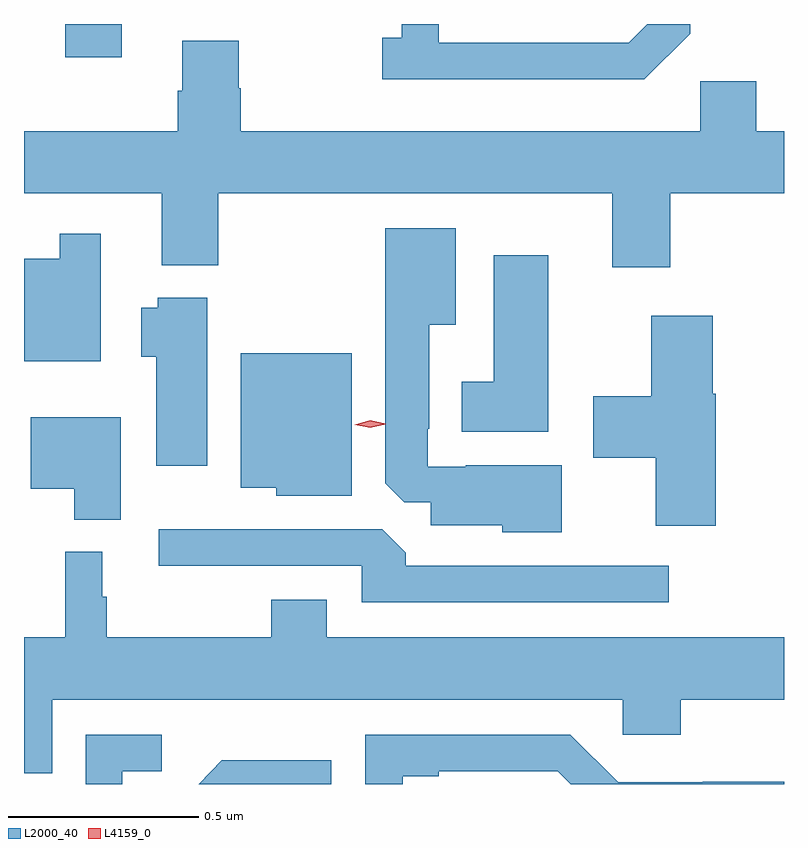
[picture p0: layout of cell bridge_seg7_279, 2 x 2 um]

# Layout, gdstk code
import gdstk
lib = gdstk.Library(unit=1e-6, precision=1e-09)
def R(c, l, rs):  # rectangles x0, y0, x1, y1
    for r in rs: c.add(gdstk.rectangle(r[:2], r[2:], *l))
def P(c, l, *ps):  # polygons
    for p in ps: c.add(gdstk.Polygon(p, *l))
L2000_40 = (2000, 40)
L4159_0 = (4159, 0)

bridge_seg7_279 = lib.new_cell('bridge_seg7_279')
R(bridge_seg7_279, L2000_40, [(141.591,1028.946,141.739,1029.034)])
P(bridge_seg7_279, L2000_40, [(143.235,1029.009),(143.235,1029.034),(143.122,1029.034),(143.073,1028.985),(142.573,1028.985),(142.573,1029.034),(142.476,1029.034),(142.476,1028.998),(142.425,1028.998),(142.425,1028.888),(143.114,1028.888)],
  [(143.183,1028.588),(143.482,1028.588),(143.482,1028.752),(143.409,1028.752),(143.409,1028.884),(143.262,1028.884),(143.262,1028.752),(142.052,1028.752),(142.052,1028.865),(142.047,1028.865),(142.047,1028.99),(141.899,1028.99),(141.899,1028.858),(141.887,1028.858),(141.887,1028.752),(141.482,1028.752),(141.482,1028.588),(141.845,1028.588),(141.845,1028.399),(141.993,1028.399),(141.993,1028.588),(143.03,1028.588),(143.03,1028.394),(143.183,1028.394)],
  [(142.897,1027.873),(142.645,1027.873),(142.645,1027.869),(142.545,1027.869),(142.545,1027.969),(142.549,1027.969),(142.549,1028.243),(142.618,1028.243),(142.618,1028.497),(142.433,1028.497),(142.433,1027.825),(142.482,1027.776),(142.553,1027.776),(142.553,1027.715),(142.74,1027.715),(142.74,1027.697),(142.897,1027.697)],
  [(141.684,1028.482),(141.576,1028.482),(141.576,1028.416),(141.482,1028.416),(141.482,1028.147),(141.684,1028.147)],
  [(142.861,1028.425),(142.718,1028.425),(142.718,1028.092),(142.634,1028.092),(142.634,1027.961),(142.861,1027.961)],
  [(141.964,1028.314),(141.834,1028.314),(141.834,1028.287),(141.791,1028.287),(141.791,1028.158),(141.83,1028.158),(141.83,1027.872),(141.964,1027.872)],
  [(143.302,1028.061),(143.295,1028.061),(143.295,1028.266),(143.132,1028.266),(143.132,1028.055),(142.98,1028.055),(142.98,1027.892),(143.144,1027.892),(143.144,1027.713),(143.302,1027.713)],
  [(142.345,1028.167),(142.052,1028.167),(142.052,1027.814),(142.146,1027.814),(142.146,1027.793),(142.345,1027.793)],
  [(141.736,1027.999),(141.5,1027.999),(141.5,1027.811),(141.614,1027.811),(141.614,1027.73),(141.736,1027.73)],
  [(143.179,1027.608),(142.487,1027.608),(142.487,1027.642),(142.425,1027.704),(141.837,1027.704),(141.837,1027.608),(142.371,1027.608),(142.371,1027.512),(143.179,1027.512)],
  [(141.556,1027.256),(143.058,1027.256),(143.058,1027.163),(143.21,1027.163),(143.21,1027.256),(143.482,1027.256),(143.482,1027.42),(142.279,1027.42),(142.279,1027.519),(142.132,1027.519),(142.132,1027.42),(141.7,1027.42),(141.7,1027.527),(141.688,1027.527),(141.688,1027.645),(141.59,1027.645),(141.59,1027.42),(141.482,1027.42),(141.482,1027.062),(141.556,1027.062)],
  [(142.479,1027.055),(142.573,1027.055),(142.573,1027.068),(142.887,1027.068),(142.921,1027.034),(143.482,1027.034),(143.482,1027.04),(143.268,1027.04),(143.268,1027.038),(143.046,1027.038),(142.92,1027.164),(142.38,1027.164),(142.38,1027.034),(142.479,1027.034)],
  [(141.741,1027.068),(141.844,1027.068),(141.844,1027.164),(141.645,1027.164),(141.645,1027.034),(141.741,1027.034)],
  [(142.291,1027.096),(142.003,1027.096),(141.942,1027.034),(142.291,1027.034)])
P(bridge_seg7_279, L4159_0, [(142.393,1027.971),(142.352,1027.98),(142.352,1027.98),(142.352,1027.98),(142.393,1027.991),(142.434,1027.982),(142.434,1027.982),(142.434,1027.981)])

lib.write_gds('bridge_seg7_279.gds')
